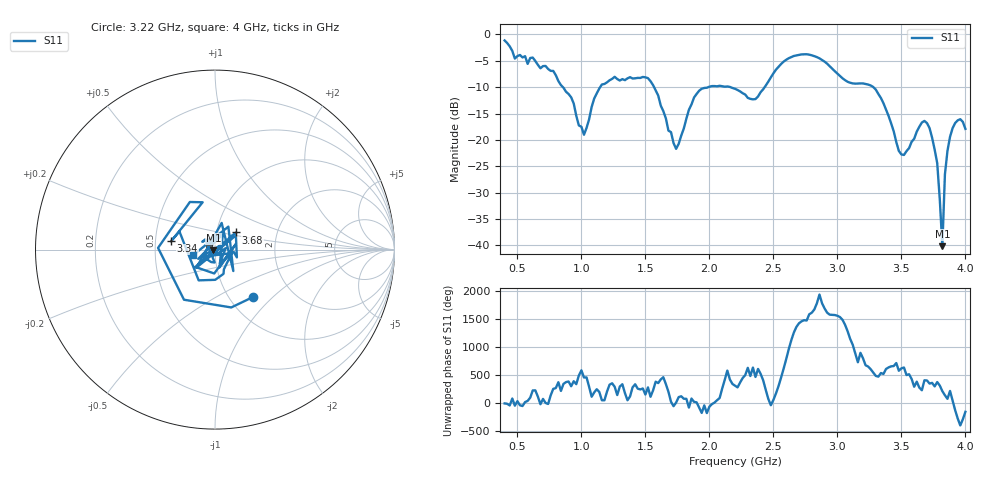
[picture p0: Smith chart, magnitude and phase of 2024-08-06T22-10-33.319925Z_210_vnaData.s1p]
!Created with skrf (http://scikit-rf.org).
# Hz S RI R 50.0
!freq ReS11 ImS11
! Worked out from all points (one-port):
!   181 points, 400 MHz to 4 GHz, reference 50 ohm
!   lowest |S11| = -40.2 dB at 3.82 GHz (marker M1), VSWR 1.02, Z = 49.1 - j0.402 ohm
!   |S11| at or under -10 dB: 855.8 MHz to 1.147 GHz (290.7 MHz wide, 29 % of centre); 1.568 GHz to 1.991 GHz (423.2 MHz wide, 23.8 % of centre); 3.281 GHz to end of sweep (the widest 3 of 4)
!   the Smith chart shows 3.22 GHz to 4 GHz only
!   S11 on the Smith chart (normalised r, x): 3.22 GHz: 1.28, -0.76; 3.34 GHz: 0.60, +0.06; 3.68 GHz: 1.24, +0.24; 4 GHz: 0.78, -0.05
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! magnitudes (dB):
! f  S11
! 400 MHz  -1.1
! 480 MHz  -4.6
! 620 MHz  -4.4
! 860 MHz  -10.1
! 1.02 GHz  -19.0
! 1.16 GHz  -9.5
! 1.3 GHz  -8.7
! 1.52 GHz  -8.3
! 1.74 GHz  -21.7
! 1.76 GHz  -20.8
! 1.92 GHz  -10.7
! 2.2 GHz  -10.3
! 2.36 GHz  -12.3
! 2.66 GHz  -4.1
! 2.84 GHz  -4.3
! 3.1 GHz  -9.2
! 3.22 GHz  -9.4
! 3.34 GHz  -12.1
! 3.48 GHz  -22.1
! 3.56 GHz  -21.6
! 3.68 GHz  -16.4
! 3.72 GHz  -17.8
! 3.78 GHz  -24.4
! 3.82 GHz  -40.2
! 3.84 GHz  -26.6
! 3.88 GHz  -19.4
! 3.94 GHz  -16.3
! 4 GHz  -17.9
